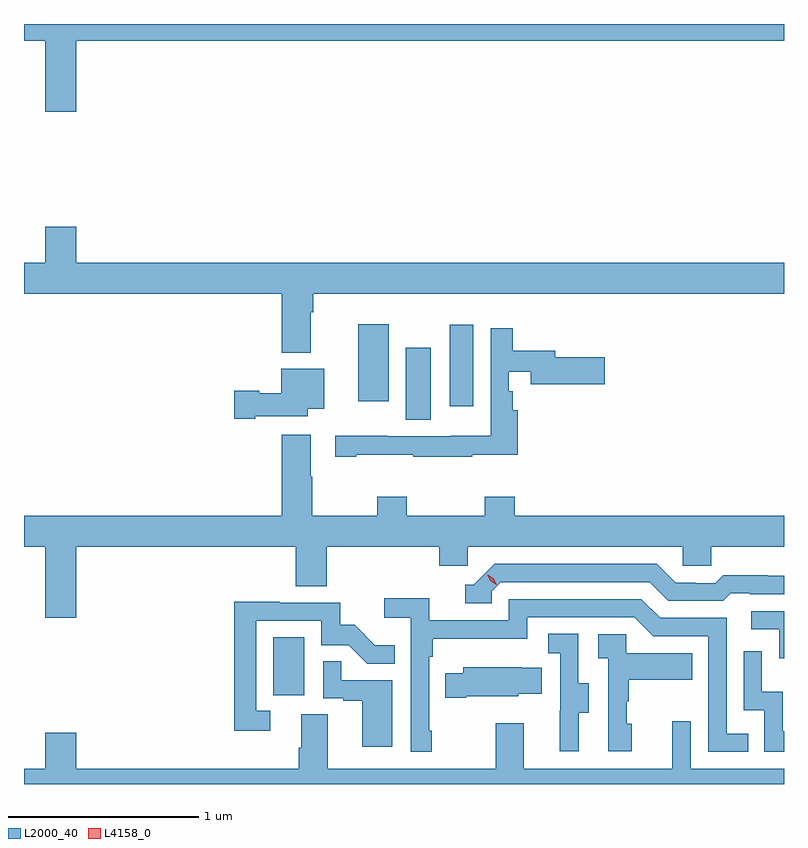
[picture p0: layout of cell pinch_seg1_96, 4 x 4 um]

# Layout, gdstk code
import gdstk
lib = gdstk.Library(unit=1e-6, precision=1e-09)
def R(c, l, rs):  # rectangles x0, y0, x1, y1
    for r in rs: c.add(gdstk.rectangle(r[:2], r[2:], *l))
def P(c, l, *ps):  # polygons
    for p in ps: c.add(gdstk.Polygon(p, *l))
L2000_40 = (2000, 40)
L4158_0 = (4158, 0)

pinch_seg1_96 = lib.new_cell('pinch_seg1_96')
R(pinch_seg1_96, L2000_40, [(1041.332,553.614,1041.496,553.921), (1042.028,555.064,1042.162,555.445), (1042.262,555.135,1042.384,555.565), (1041.779,555.162,1041.94,555.568)])
P(pinch_seg1_96, L2000_40, [(1040.296,557.06),(1044.02,557.06),(1044.02,557.148),(1040.02,557.148),(1040.02,557.06),(1040.132,557.06),(1040.132,556.686),(1040.296,556.686)],
  [(1041.529,555.632),(1041.542,555.632),(1041.542,555.728),(1044.02,555.728),(1044.02,555.892),(1040.296,555.892),(1040.296,556.081),(1040.132,556.081),(1040.132,555.892),(1040.02,555.892),(1040.02,555.728),(1041.377,555.728),(1041.377,555.419),(1041.529,555.419)],
  [(1041.769,554.881),(1042.069,554.881),(1042.069,554.871),(1042.379,554.871),(1042.379,554.881),(1042.619,554.881),(1042.619,555.115),(1042.592,555.115),(1042.592,555.216),(1042.572,555.216),(1042.572,555.317),(1042.688,555.317),(1042.688,555.251),(1043.077,555.251),(1043.077,555.393),(1042.816,555.393),(1042.816,555.427),(1042.592,555.427),(1042.592,555.547),(1042.476,555.547),(1042.476,554.98),(1042.266,554.98),(1042.266,554.979),(1041.932,554.979),(1041.932,554.981),(1041.657,554.981),(1041.657,554.871),(1041.769,554.871)],
  [(1041.238,555.083),(1041.514,555.083),(1041.514,555.122),(1041.601,555.122),(1041.601,555.334),(1041.374,555.334),(1041.374,555.205),(1041.258,555.205),(1041.258,555.218),(1041.126,555.218),(1041.126,555.071),(1041.238,555.071)],
  [(1040.296,554.396),(1041.449,554.396),(1041.449,554.188),(1041.614,554.188),(1041.614,554.396),(1042.205,554.396),(1042.205,554.298),(1042.356,554.298),(1042.356,554.396),(1043.487,554.396),(1043.487,554.298),(1043.637,554.298),(1043.637,554.396),(1044.02,554.396),(1044.02,554.56),(1042.603,554.56),(1042.603,554.659),(1042.444,554.659),(1042.444,554.56),(1042.035,554.56),(1042.035,554.659),(1041.88,554.659),(1041.88,554.56),(1041.537,554.56),(1041.537,554.765),(1041.529,554.765),(1041.529,554.986),(1041.377,554.986),(1041.377,554.56),(1040.02,554.56),(1040.02,554.396),(1040.132,554.396),(1040.132,554.022),(1040.296,554.022)],
  [(1042.482,554.163),(1042.53,554.211),(1043.313,554.211),(1043.412,554.112),(1043.701,554.112),(1043.74,554.151),(1043.839,554.151),(1043.839,554.148),(1044.02,554.148),(1044.02,554.245),(1043.934,554.245),(1043.934,554.248),(1043.701,554.248),(1043.659,554.205),(1043.556,554.205),(1043.556,554.208),(1043.449,554.208),(1043.35,554.307),(1042.497,554.307),(1042.386,554.196),(1042.343,554.196),(1042.343,554.1),(1042.482,554.1)],
  [(1042.165,553.429),(1042.152,553.429),(1042.152,553.817),(1042.172,553.817),(1042.172,553.913),(1042.668,553.913),(1042.668,554.025),(1043.232,554.025),(1043.331,553.926),(1043.622,553.926),(1043.622,553.317),(1043.831,553.317),(1043.831,553.413),(1043.718,553.413),(1043.718,554.022),(1043.368,554.022),(1043.269,554.121),(1042.572,554.121),(1042.572,554.01),(1042.154,554.01),(1042.154,554.126),(1041.915,554.126),(1041.915,554.024),(1042.056,554.024),(1042.056,553.317),(1042.165,553.317)],
  [(1041.316,553.533),(1041.243,553.533),(1041.243,554.007),(1041.585,554.007),(1041.585,553.878),(1041.729,553.878),(1041.827,553.78),(1041.971,553.78),(1041.971,553.879),(1041.867,553.879),(1041.76,553.986),(1041.684,553.986),(1041.684,554.103),(1041.365,554.103),(1041.365,554.108),(1041.127,554.108),(1041.127,553.428),(1041.316,553.428)],
  [(1044.02,554.058),(1043.847,554.058),(1043.847,553.962),(1043.994,553.962),(1043.994,553.809),(1044.02,553.809)],
  [(1042.939,553.522),(1042.993,553.522),(1042.993,553.677),(1042.938,553.677),(1042.938,553.94),(1042.779,553.94),(1042.779,553.837),(1042.842,553.837),(1042.842,553.533),(1042.841,553.533),(1042.841,553.32),(1042.939,553.32)],
  [(1043.218,553.464),(1043.193,553.464),(1043.193,553.583),(1043.203,553.583),(1043.203,553.697),(1043.537,553.697),(1043.537,553.837),(1043.19,553.837),(1043.19,553.935),(1043.043,553.935),(1043.043,553.811),(1043.094,553.811),(1043.094,553.32),(1043.218,553.32)],
  [(1044.02,553.426),(1044.014,553.426),(1044.014,553.634),(1043.904,553.634),(1043.904,553.846),(1043.808,553.846),(1043.808,553.536),(1043.916,553.536),(1043.916,553.317),(1044.02,553.317)],
  [(1041.958,553.695),(1041.689,553.695),(1041.689,553.793),(1041.594,553.793),(1041.594,553.599),(1041.701,553.599),(1041.701,553.587),(1041.8,553.587),(1041.8,553.344),(1041.958,553.344)],
  [(1042.348,553.61),(1042.62,553.61),(1042.62,553.622),(1042.745,553.622),(1042.745,553.759),(1042.637,553.759),(1042.637,553.762),(1042.331,553.762),(1042.331,553.732),(1042.237,553.732),(1042.237,553.603),(1042.348,553.603)],
  [(1044.02,553.228),(1043.529,553.228),(1043.529,553.477),(1043.432,553.477),(1043.432,553.228),(1042.651,553.228),(1042.651,553.468),(1042.504,553.468),(1042.504,553.228),(1041.619,553.228),(1041.619,553.514),(1041.479,553.514),(1041.479,553.34),(1041.467,553.34),(1041.467,553.228),(1040.296,553.228),(1040.296,553.417),(1040.132,553.417),(1040.132,553.228),(1040.02,553.228),(1040.02,553.148),(1044.02,553.148)])
P(pinch_seg1_96, L4158_0, [(1042.506,554.198),(1042.475,554.217),(1042.459,554.249),(1042.459,554.249),(1042.46,554.249),(1042.49,554.23),(1042.507,554.198),(1042.507,554.198)])

lib.write_gds('pinch_seg1_96.gds')
